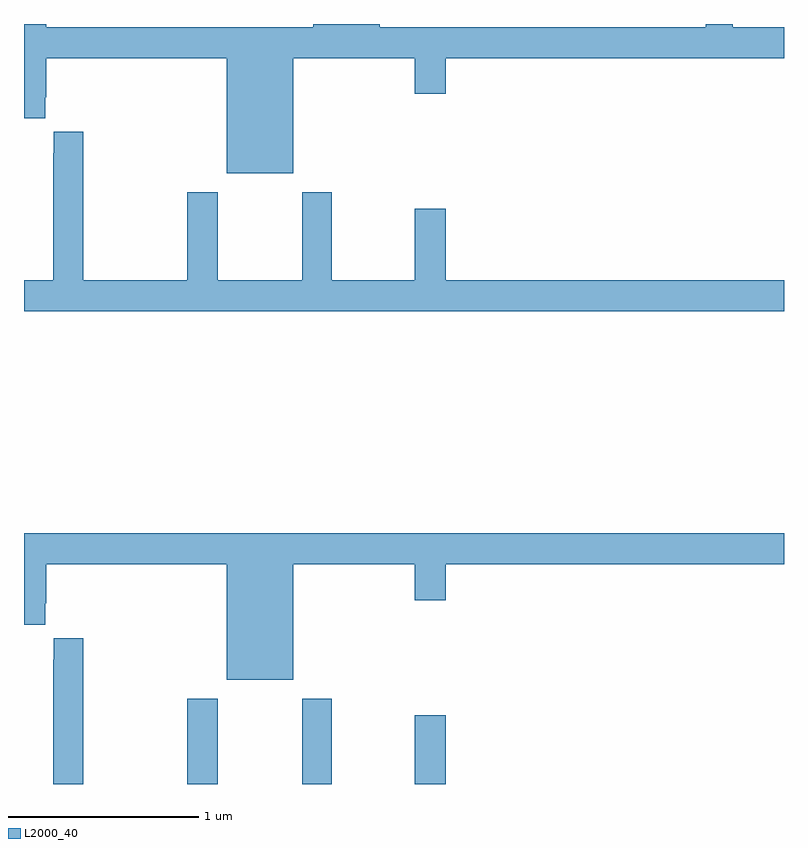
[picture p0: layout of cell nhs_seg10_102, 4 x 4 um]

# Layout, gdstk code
import gdstk
lib = gdstk.Library(unit=1e-6, precision=1e-09)
def R(c, l, rs):  # rectangles x0, y0, x1, y1
    for r in rs: c.add(gdstk.rectangle(r[:2], r[2:], *l))
def P(c, l, *ps):  # polygons
    for p in ps: c.add(gdstk.Polygon(p, *l))
L2000_40 = (2000, 40)

nhs_seg10_102 = lib.new_cell('nhs_seg10_102')
R(nhs_seg10_102, L2000_40, [(115.859,1292.5,116.019,1292.95), (116.464,1292.5,116.619,1292.95), (117.056,1292.5,117.22,1292.863)])
P(nhs_seg10_102, L2000_40, [(116.416,1296.32),(117.056,1296.32),(117.056,1296.132),(117.22,1296.132),(117.22,1296.32),(119,1296.32),(119,1296.484),(118.729,1296.484),(118.729,1296.5),(118.589,1296.5),(118.589,1296.484),(116.872,1296.484),(116.872,1296.5),(116.522,1296.5),(116.522,1296.484),(115.118,1296.484),(115.118,1296.5),(115,1296.5),(115,1296.003),(115.111,1296.003),(115.111,1296.115),(115.118,1296.115),(115.118,1296.32),(116.066,1296.32),(116.066,1295.714),(116.416,1295.714)],
  [(119,1295.152),(117.22,1295.152),(117.22,1295.527),(117.056,1295.527),(117.056,1295.152),(116.619,1295.152),(116.619,1295.614),(116.464,1295.614),(116.464,1295.152),(116.019,1295.152),(116.019,1295.614),(115.859,1295.614),(115.859,1295.152),(115.313,1295.152),(115.313,1295.932),(115.157,1295.932),(115.157,1295.819),(115.153,1295.819),(115.153,1295.152),(115,1295.152),(115,1294.988),(119,1294.988)],
  [(116.416,1293.656),(117.056,1293.656),(117.056,1293.468),(117.22,1293.468),(117.22,1293.656),(119,1293.656),(119,1293.82),(115,1293.82),(115,1293.339),(115.111,1293.339),(115.111,1293.451),(115.118,1293.451),(115.118,1293.656),(116.066,1293.656),(116.066,1293.05),(116.416,1293.05)],
  [(115.313,1293.268),(115.157,1293.268),(115.157,1293.155),(115.153,1293.155),(115.153,1292.5),(115.313,1292.5)])

lib.write_gds('nhs_seg10_102.gds')
